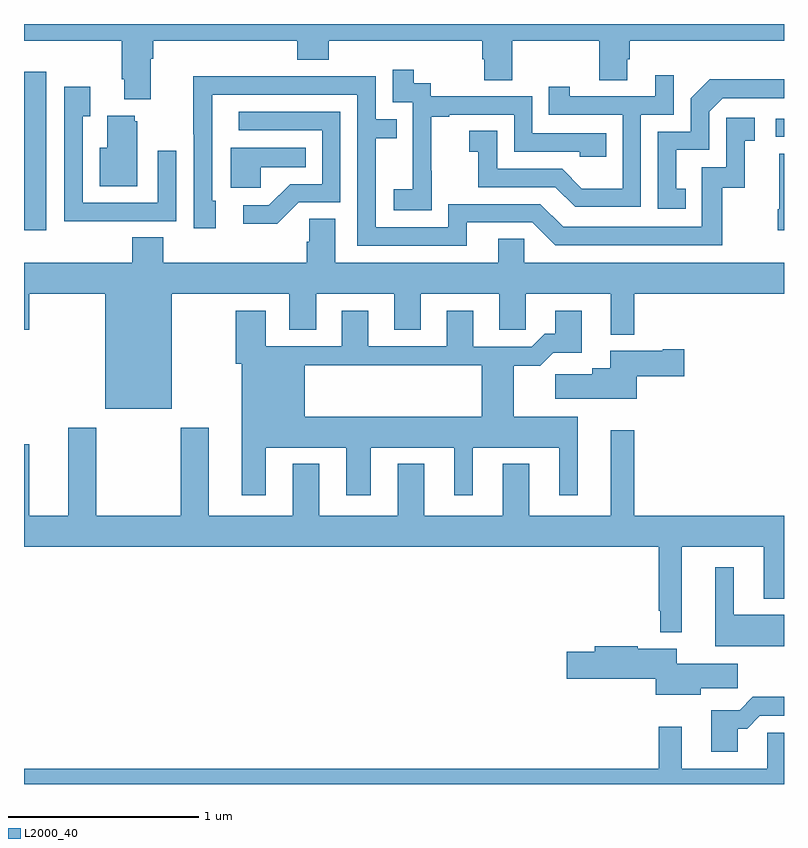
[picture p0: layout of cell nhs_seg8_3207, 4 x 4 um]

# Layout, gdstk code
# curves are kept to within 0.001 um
import gdstk
lib = gdstk.Library(unit=1e-6, precision=1e-09)
def R(c, l, rs):  # rectangles x0, y0, x1, y1
    for r in rs: c.add(gdstk.rectangle(r[:2], r[2:], *l))
def P(c, l, *ps):  # polygons
    for p in ps: c.add(gdstk.Polygon(p, *l))
L2000_40 = (2000, 40)

nhs_seg8_3207 = lib.new_cell('nhs_seg8_3207')
R(nhs_seg8_3207, L2000_40, [(309,1136.814,309.118,1137.649), (312.957,1137.306,313,1137.402)])
P(nhs_seg8_3207, L2000_40, [(309.667,1137.716),(309.68,1137.716),(309.68,1137.812),(310.439,1137.812),(310.439,1137.713),(310.604,1137.713),(310.604,1137.812),(311.411,1137.812),(311.411,1137.714),(311.423,1137.714),(311.423,1137.604),(311.571,1137.604),(311.571,1137.812),(312.028,1137.812),(312.028,1137.604),(312.175,1137.604),(312.175,1137.714),(312.188,1137.714),(312.188,1137.812),(313,1137.812),(313,1137.9),(309,1137.9),(309,1137.812),(309.515,1137.812),(309.515,1137.61),(309.527,1137.61),(309.527,1137.503),(309.667,1137.503)],
  [(311.145,1137.127),(311.144,1137.127),(311.144,1137.411),(311.239,1137.411),(311.239,1137.423),(311.58,1137.423),(311.58,1137.228),(311.925,1137.228),(311.925,1137.201),(312.065,1137.201),(312.065,1137.324),(311.676,1137.324),(311.676,1137.519),(311.142,1137.519),(311.142,1137.588),(311.05,1137.588),(311.05,1137.658),(310.941,1137.658),(310.941,1137.489),(311.046,1137.489),(311.046,1137.26),(311.045,1137.26),(311.045,1137.031),(310.947,1137.031),(310.947,1136.921),(311.145,1136.921)],
  [(312.246,1137.423),(312.42,1137.423),(312.42,1137.631),(312.323,1137.631),(312.323,1137.519),(311.872,1137.519),(311.872,1137.571),(311.761,1137.571),(311.761,1137.423),(312.15,1137.423),(312.15,1137.034),(311.936,1137.034),(311.832,1137.138),(311.49,1137.138),(311.49,1137.337),(311.343,1137.337),(311.343,1137.227),(311.392,1137.227),(311.392,1137.042),(311.795,1137.042),(311.9,1136.937),(312.246,1136.937)],
  [(311.329,1136.856),(311.676,1136.856),(311.796,1136.736),(312.676,1136.736),(312.676,1137.039),(312.794,1137.039),(312.794,1137.285),(312.847,1137.285),(312.847,1137.406),(312.696,1137.406),(312.696,1137.147),(312.567,1137.147),(312.567,1136.832),(311.838,1136.832),(311.718,1136.952),(311.232,1136.952),(311.232,1136.829),(310.851,1136.829),(310.851,1137.298),(310.961,1137.298),(310.961,1137.399),(310.851,1137.399),(310.851,1137.624),(310.355,1137.624),(310.355,1137.626),(309.892,1137.626),(309.892,1137.319),(309.894,1137.319),(309.894,1136.826),(310.009,1136.826),(310.009,1136.97),(309.99,1136.97),(309.991,1137.528),(310.755,1137.528),(310.755,1136.733),(311.329,1136.733)],
  [(312.482,1137.033),(312.433,1137.033),(312.433,1137.237),(312.606,1137.237),(312.606,1137.438),(312.678,1137.51),(313,1137.51),(313,1137.608),(312.608,1137.608),(312.51,1137.51),(312.51,1137.333),(312.336,1137.333),(312.336,1136.928),(312.482,1136.928)],
  [(309.485,1136.862),(309.801,1136.862),(309.801,1137.232),(309.705,1137.232),(309.705,1136.958),(309.309,1136.958),(309.309,1137.415),(309.349,1137.415),(309.349,1137.571),(309.213,1137.571),(309.213,1136.861),(309.485,1136.861)],
  [(310.446,1136.961),(310.665,1136.961),(310.665,1137.438),(310.131,1137.438),(310.131,1137.342),(310.569,1137.342),(310.569,1137.057),(310.4,1137.057),(310.289,1136.946),(310.155,1136.946),(310.155,1136.849),(310.333,1136.849)],
  [(309.595,1137.387),(309.584,1137.387),(309.584,1137.418),(309.437,1137.418),(309.437,1137.25),(309.398,1137.25),(309.398,1137.047),(309.595,1137.047)],
  [(310.245,1137.146),(310.484,1137.146),(310.484,1137.25),(310.088,1137.25),(310.088,1137.038),(310.245,1137.038)],
  [(313,1137.217),(312.974,1137.217),(312.974,1136.926),(312.967,1136.926),(312.967,1136.814),(313,1136.814)],
  [(309.778,1136.48),(310.397,1136.48),(310.397,1136.29),(310.537,1136.29),(310.537,1136.48),(310.949,1136.48),(310.949,1136.29),(311.089,1136.29),(311.089,1136.48),(311.501,1136.48),(311.501,1136.29),(311.64,1136.29),(311.64,1136.48),(312.089,1136.48),(312.089,1136.264),(312.211,1136.264),(312.211,1136.48),(313,1136.48),(313,1136.644),(311.634,1136.644),(311.634,1136.771),(311.495,1136.771),(311.495,1136.644),(310.639,1136.644),(310.639,1136.876),(310.5,1136.876),(310.5,1136.753),(310.487,1136.753),(310.487,1136.644),(309.734,1136.644),(309.734,1136.777),(309.569,1136.777),(309.569,1136.644),(309,1136.644),(309,1136.292),(309.028,1136.292),(309.028,1136.48),(309.428,1136.48),(309.428,1135.874),(309.778,1135.874)],
  [(310.273,1135.419),(310.273,1135.67),(310.697,1135.67),(310.697,1135.419),(310.825,1135.419),(310.825,1135.67),(311.264,1135.67),(311.264,1135.419),(311.362,1135.419),(311.362,1135.67),(311.816,1135.67),(311.816,1135.419),(311.914,1135.419),(311.914,1135.834),(311.578,1135.834),(311.578,1136.102),(311.717,1136.102),(311.786,1136.171),(311.935,1136.171),(311.935,1136.392),(311.795,1136.392),(311.795,1136.269),(311.74,1136.269),(311.673,1136.202),(311.365,1136.202),(311.365,1136.392),(311.225,1136.392),(311.225,1136.205),(310.813,1136.205),(310.813,1136.392),(310.673,1136.392),(310.673,1136.205),(310.273,1136.205),(310.273,1136.392),(310.114,1136.392),(310.114,1136.112),(310.145,1136.112),(310.145,1135.834),(310.477,1135.834),(310.477,1136.104),(311.408,1136.104),(311.408,1135.834),(310.145,1135.834),(310.145,1135.419)],
  [(312.226,1136.045),(312.475,1136.045),(312.475,1136.187),(312.362,1136.187),(312.362,1136.179),(312.086,1136.179),(312.086,1136.089),(311.99,1136.089),(311.99,1136.057),(311.796,1136.057),(311.796,1135.928),(312.226,1135.928)],
  [(312.342,1134.811),(312.349,1134.811),(312.349,1134.699),(312.463,1134.699),(312.463,1135.148),(312.893,1135.148),(312.893,1134.875),(313,1134.875),(313,1135.312),(312.211,1135.312),(312.211,1135.762),(312.089,1135.762),(312.089,1135.312),(311.659,1135.312),(311.659,1135.585),(311.519,1135.585),(311.519,1135.312),(311.107,1135.312),(311.107,1135.585),(310.967,1135.585),(310.967,1135.312),(310.555,1135.312),(310.555,1135.585),(310.415,1135.585),(310.415,1135.312),(309.973,1135.312),(309.973,1135.774),(309.826,1135.774),(309.826,1135.312),(309.381,1135.312),(309.381,1135.774),(309.233,1135.774),(309.233,1135.312),(309.028,1135.312),(309.028,1135.687),(309,1135.687),(309,1135.148),(312.342,1135.148)],
  [(313,1134.79),(312.736,1134.79),(312.736,1135.042),(312.638,1135.042),(312.638,1134.626),(313,1134.626)],
  [(312.562,1134.403),(312.757,1134.403),(312.757,1134.532),(312.436,1134.532),(312.436,1134.613),(312.23,1134.613),(312.23,1134.626),(312.005,1134.626),(312.005,1134.596),(311.856,1134.596),(311.856,1134.454),(312.326,1134.454),(312.326,1134.371),(312.562,1134.371)],
  [(312.757,1134.191),(312.806,1134.191),(312.873,1134.258),(313,1134.258),(313,1134.359),(312.836,1134.359),(312.766,1134.289),(312.617,1134.289),(312.617,1134.069),(312.757,1134.069)],
  [(313,1134.17),(312.912,1134.17),(312.912,1133.98),(312.463,1133.98),(312.463,1134.202),(312.342,1134.202),(312.342,1133.98),(309,1133.98),(309,1133.9),(313,1133.9)])

lib.write_gds('nhs_seg8_3207.gds')
